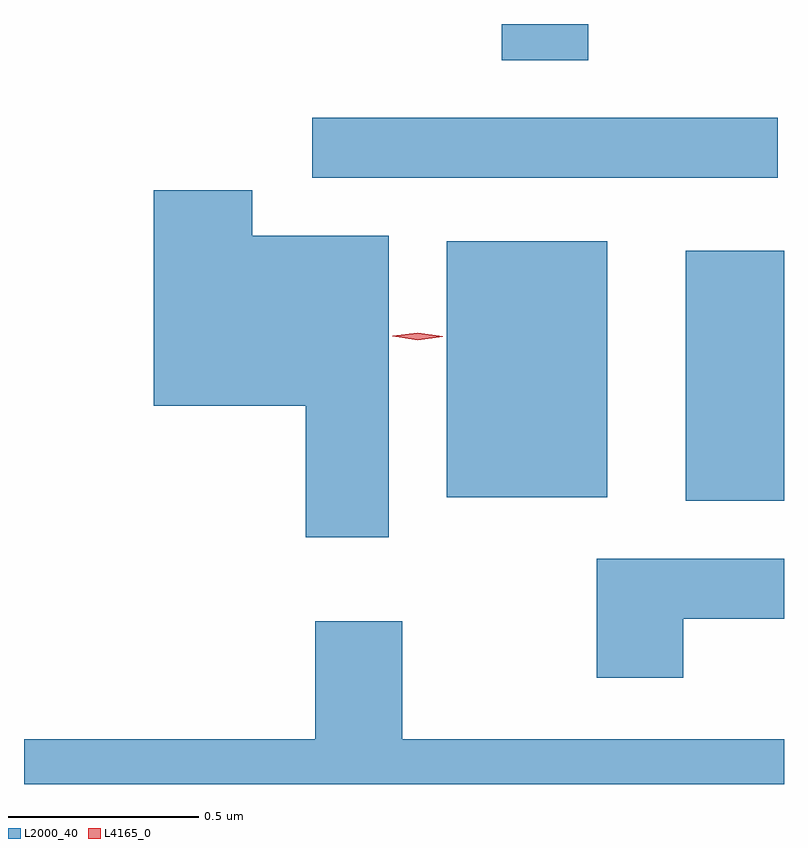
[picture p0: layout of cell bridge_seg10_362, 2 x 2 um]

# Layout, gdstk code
import gdstk
lib = gdstk.Library(unit=1e-6, precision=1e-09)
def R(c, l, rs):  # rectangles x0, y0, x1, y1
    for r in rs: c.add(gdstk.rectangle(r[:2], r[2:], *l))
def P(c, l, *ps):  # polygons
    for p in ps: c.add(gdstk.Polygon(p, *l))
L2000_40 = (2000, 40)
L4165_0 = (4165, 0)

bridge_seg10_362 = lib.new_cell('bridge_seg10_362')
R(bridge_seg10_362, L2000_40, [(1335.546,2181.411,1335.804,2182.069), (1334.916,2181.421,1335.339,2182.094), (1334.563,2182.261,1335.788,2182.419), (1335.061,2182.571,1335.289,2182.666)])
P(bridge_seg10_362, L2000_40, [(1334.764,2182.109),(1334.404,2182.109),(1334.404,2182.229),(1334.146,2182.229),(1334.146,2181.661),(1334.546,2181.661),(1334.546,2181.316),(1334.764,2181.316)],
  [(1335.539,2181.101),(1335.804,2181.101),(1335.804,2181.259),(1335.311,2181.259),(1335.311,2180.946),(1335.539,2180.946)],
  [(1335.804,2180.784),(1334.799,2180.784),(1334.799,2181.094),(1334.571,2181.094),(1334.571,2180.784),(1333.804,2180.784),(1333.804,2180.666),(1335.804,2180.666)])
P(bridge_seg10_362, L4165_0, [(1334.84,2181.834),(1334.774,2181.844),(1334.773,2181.844),(1334.774,2181.845),(1334.84,2181.854),(1334.906,2181.844),(1334.906,2181.844),(1334.906,2181.843)])

lib.write_gds('bridge_seg10_362.gds')
